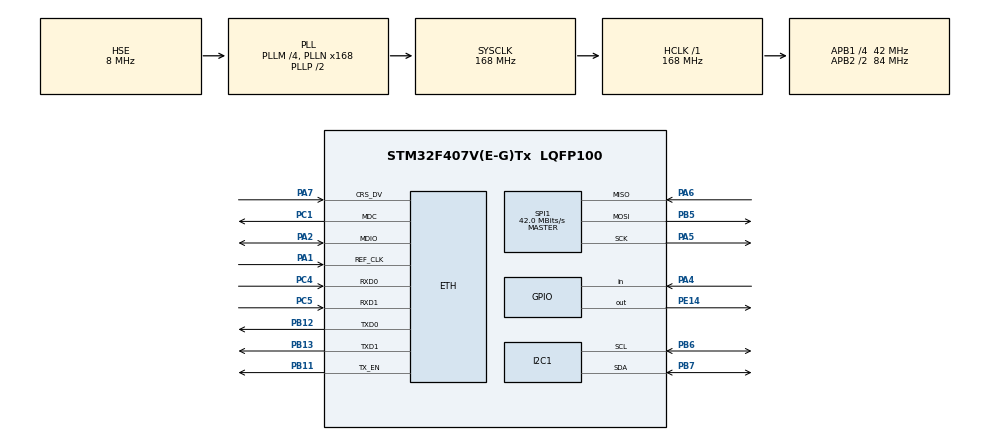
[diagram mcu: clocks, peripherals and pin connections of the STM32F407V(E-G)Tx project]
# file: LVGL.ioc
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ETH.MediaInterface=ETH_MEDIA_INTERFACE_RMII
ETH.PhyAddress=0
LWIP.GATEWAY_ADDRESS=192.168.123.001
LWIP.IP_ADDRESS=192.168.123.011
LWIP.LWIP_DHCP=0
LWIP.LWIP_ICMP=1
LWIP.LWIP_UDP=0
LWIP.NETMASK_ADDRESS=255.255.255.000
LWIP.Version=v2.1.2_Cube
Mcu.Family=STM32F4
Mcu.Name=STM32F407V(E-G)Tx
Mcu.Package=LQFP100
NVIC.PriorityGroup=NVIC_PRIORITYGROUP_4
NVIC.TIM6_DAC_IRQn=true\:0\:0\:false\:false\:true\:true\:true
PA1.Mode=RMII
PA1.Signal=ETH_REF_CLK
PA13.Mode=Serial_Wire
PA13.Signal=SYS_JTMS-SWDIO
PA14.Mode=Serial_Wire
PA14.Signal=SYS_JTCK-SWCLK
PA2.Mode=RMII
PA2.Signal=ETH_MDIO
PA4.Signal=GPIO_Input
PA5.Mode=Full_Duplex_Master
PA5.Signal=SPI1_SCK
PA6.Mode=Full_Duplex_Master
PA6.Signal=SPI1_MISO
PA7.Mode=RMII
PA7.Signal=ETH_CRS_DV
PB11.Mode=RMII
PB11.Signal=ETH_TX_EN
PB12.Mode=RMII
PB12.Signal=ETH_TXD0
PB13.Mode=RMII
PB13.Signal=ETH_TXD1
PB5.Mode=Full_Duplex_Master
PB5.Signal=SPI1_MOSI
PB6.Mode=I2C
PB6.Signal=I2C1_SCL
PB7.Mode=I2C
PB7.Signal=I2C1_SDA
PC1.Mode=RMII
PC1.Signal=ETH_MDC
PC4.Mode=RMII
PC4.Signal=ETH_RXD0
PC5.Mode=RMII
PC5.Signal=ETH_RXD1
PE14.Signal=GPIO_Output
PH0-OSC_IN.Mode=HSE-External-Oscillator
PH0-OSC_IN.Signal=RCC_OSC_IN
PH1-OSC_OUT.Mode=HSE-External-Oscillator
PH1-OSC_OUT.Signal=RCC_OSC_OUT
ProjectManager.HeapSize=0x200
ProjectManager.StackSize=0x4000
ProjectManager.TargetToolchain=MDK-ARM V5.32
RCC.48MHZClocksFreq_Value=84000000
RCC.AHBFreq_Value=168000000
RCC.APB1CLKDivider=RCC_HCLK_DIV4
RCC.APB1Freq_Value=42000000
RCC.APB1TimFreq_Value=84000000
RCC.APB2CLKDivider=RCC_HCLK_DIV2
RCC.APB2Freq_Value=84000000
RCC.APB2TimFreq_Value=168000000
RCC.CortexFreq_Value=168000000
RCC.HCLKFreq_Value=168000000
RCC.HSE_VALUE=8000000
RCC.HSI_VALUE=16000000
RCC.LSE_VALUE=32768
RCC.PLLM=4
RCC.PLLN=168
RCC.PLLSourceVirtual=RCC_PLLSOURCE_HSE
RCC.SYSCLKFreq_VALUE=168000000
RCC.SYSCLKSource=RCC_SYSCLKSOURCE_PLLCLK
RCC.VCOOutputFreq_Value=336000000
SPI1.CalculateBaudRate=42.0 MBits/s
SPI1.Direction=SPI_DIRECTION_2LINES
SPI1.Mode=SPI_MODE_MASTER
SPI1.VirtualType=VM_MASTER
TIM6.Period=999
TIM6.Prescaler=167
VP_FATFS_VS_Generic.Mode=User_defined
VP_LWIP_VS_Enabled.Mode=Enabled
VP_TIM6_VS_ClockSourceINT.Mode=Enable_Timer
board=custom

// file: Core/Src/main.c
/* USER CODE BEGIN Header */
/**
  ******************************************************************************
  * @file           : main.c
  * @brief          : Main program body
  ******************************************************************************
  * @attention
  *
  * Copyright (c) 2022 STMicroelectronics.
  * All rights reserved.
  *
  * This software is licensed under terms that can be found in the LICENSE file
  * in the root directory of this software component.
  * If no LICENSE file comes with this software, it is provided AS-IS.
  *
  ******************************************************************************
  */
/* USER CODE END Header */
#include "main.h"
#include "fatfs.h"
#include "i2c.h"
#include "lwip.h"
#include "spi.h"
#include "tim.h"
#include "gpio.h"

/* USER CODE BEGIN Includes */
#include "ssd1306.h"
//#include "lv_demo_benchmark.h"
#include "lv_port_indev.h"
#include "lv_port_disp.h"
#include "lvgl.h"
#include "ssd1306_tests.h"
#include "sys.h"
#include "stdio.h"
#include "ssd1306_fonts.h"
/* USER CODE END Includes */

/* USER CODE BEGIN PD */
//void HAL_TIM_PeriodElapsedCallback(TIM_HandleTypeDef *htim)
//{
//    static uint32_t time = 0;
//	if(htim->Instance == TIM6)  // ???6???
//	{
//         lv_tick_inc(1);
//	}
//}
static void anim_x_cb(void * var, int32_t v)
{
    lv_obj_set_x(var, v);
}

//static void sw_event_cb(lv_event_t * e)
//{
//    lv_obj_t * sw = lv_event_get_target(e);
//    lv_obj_t * label = lv_event_get_user_data(e);

//    if(lv_obj_has_state(sw, LV_STATE_CHECKED)) {
//        lv_anim_t a;
//        lv_anim_init(&a);
//        lv_anim_set_var(&a, label);
//        lv_anim_set_values(&a, lv_obj_get_x(label), 20);
//        lv_anim_set_time(&a, 500);
//        lv_anim_set_exec_cb(&a, anim_x_cb);
//        lv_anim_set_path_cb(&a, lv_anim_path_overshoot);
//        lv_anim_start(&a);
//    } else {
//        lv_anim_t a;
//        lv_anim_init(&a);
//        lv_anim_set_var(&a, label);
//        lv_anim_set_values(&a, lv_obj_get_x(label), 0);
//        lv_anim_set_time(&a, 500);
//        lv_anim_set_exec_cb(&a, anim_x_cb);
//        lv_anim_set_path_cb(&a, lv_anim_path_ease_in);
//        lv_anim_start(&a);
//    }

//}
static void event_cb2(lv_event_t * e)
{
    static unsigned int cnt = 1;
    lv_obj_t * btn = lv_event_get_target(e);
    lv_obj_t * label = lv_event_get_user_data(e);

//
//    lv_label_set_text_fmt(label, "%u", cnt);
    cnt++;
		if(cnt==4)
		{
			cnt=1;
		}
		switch(cnt){
			case 1:
				lv_label_set_text_fmt(label, "VIDEO");
							break;
			case 2:
				lv_label_set_text_fmt(label, "AUDIO");
							break;
			case 3:
				lv_label_set_text_fmt(label, "Github");
				break;
		}
		lv_anim_t a;
		lv_anim_init(&a);
		lv_anim_set_var(&a, label);
		lv_anim_set_values(&a, lv_obj_get_x(label), 0);
		lv_anim_set_time(&a, 500);
		lv_anim_set_exec_cb(&a, anim_x_cb);
		lv_anim_set_path_cb(&a, lv_anim_path_overshoot);
		lv_anim_start(&a);

}
static void event_cb(lv_event_t * e)
{
    static unsigned int cnt = 1;
    lv_obj_t * btn = lv_event_get_target(e);
//    lv_obj_t * label = lv_event_get_user_data(e);

    lv_obj_t * img = lv_event_get_user_data(e);
		LV_IMG_DECLARE(github_logo);
//
//    lv_label_set_text_fmt(label, "%u", cnt);
    cnt++;
		if(cnt==4)
		{
			cnt=1;
		}
		switch(cnt){
			case 1:
			lv_img_set_src(img, &LV_SYMBOL_VIDEO);lv_obj_center(img);
							break;
			case 2:
			lv_img_set_src(img, &LV_SYMBOL_AUDIO);lv_obj_center(img);
							break;
			case 3:
				lv_img_set_src(img, &github_logo);
							lv_obj_center(img);break;
		}

		lv_anim_t a2;
		lv_anim_init(&a2);
		lv_anim_set_var(&a2, img);
		lv_anim_set_values(&a2, lv_obj_get_x(img), 0);
		lv_anim_set_time(&a2, 500);
		lv_anim_set_exec_cb(&a2, anim_x_cb);
		lv_anim_set_path_cb(&a2, lv_anim_path_overshoot);
		lv_anim_start(&a2);
}
/**
 * Start animation on an event
 */
void lv_example_anim_1(void)
{
		static lv_style_t style_btn;
//		lv_style_set_bg_color(&style_btn, lv_color_black());

    lv_obj_t * btn = lv_btn_create(lv_scr_act());
		lv_obj_set_pos(btn, 10, 10);
    lv_obj_set_size(btn, 10, 10);

		lv_obj_add_style(btn, &style_btn, LV_STATE_DEFAULT);

    lv_obj_t * label = lv_label_create(lv_scr_act());
   lv_label_set_text(label, "Click!");
   lv_obj_align(label, LV_ALIGN_BOTTOM_MID, 0, 0);
//		lv_obj_add_event_cb(btn, event_cb, LV_EVENT_CLICKED, (void *)label);
		lv_obj_t * img = lv_img_create(lv_scr_act());
//	LV_IMG_DECLARE(github_logo);
//								lv_img_set_src(img, &github_logo);
//							lv_obj_center(img);
		lv_obj_add_event_cb(btn, event_cb, LV_EVENT_CLICKED, (void *)img);
		lv_obj_add_event_cb(btn, event_cb2, LV_EVENT_CLICKED, (void *)label);

}

//void lv_button_click_event_test()
//{
//	static lv_style_t style_btn;
//	/* ??????????? */
//    lv_style_init(&style_btn);
//    lv_style_set_radius(&style_btn, 10);                                        //????
//    lv_style_set_bg_opa(&style_btn, LV_OPA_COVER);                              //?????
//    lv_style_set_bg_color(&style_btn, lv_color_black());  //??????
////    lv_style_set_bg_grad_color(&style_btn, lv_palette_main(LV_PALETTE_NONE));   //??????
////    lv_style_set_bg_grad_dir(&style_btn, LV_GRAD_DIR_VER);                      //??????

//    lv_style_set_border_color(&style_btn, lv_color_black());                    //??????
//    lv_style_set_border_opa(&style_btn, LV_OPA_20);                             //??????
//    lv_style_set_border_width(&style_btn, 2);                                   //???????

//    lv_style_set_text_color(&style_btn, lv_color_white());                      //???????

//   /****************************************************??1***********************************************************/
//    /*????????????*/
//    lv_obj_t* btn = lv_btn_create(lv_scr_act());
//    /* ?????????
//    * ???,?????????????
//
//    * ?? lv_obj_remove_style_all ???????????? */
//		lv_obj_t * info_label = lv_label_create(lv_scr_act());
//		lv_obj_set_pos(info_label, 0, 50);
//    lv_label_set_text(info_label, "None");
//		lv_obj_add_event_cb(btn, event_cb, LV_EVENT_ALL, info_label);
//    lv_obj_remove_style_all(btn);
//    lv_obj_set_pos(btn, 10, 10);
//    lv_obj_set_size(btn, 80, 25);
//    lv_obj_add_style(btn, &style_btn, LV_STATE_DEFAULT);            //???????
//    /*???????*/
//    lv_obj_t* label = lv_label_create(btn);
//    lv_label_set_text(label, "Button");
//    lv_obj_center(label);
//

//}

/* USER CODE END PD */

void SystemClock_Config(void);

int main(void)
{

  /* MCU Configuration--------------------------------------------------------*/

  /* Reset of all peripherals, Initializes the Flash interface and the Systick. */
  HAL_Init();

  /* Configure the system clock */
  SystemClock_Config();

  /* Initialize all configured peripherals */
  MX_GPIO_Init();
  MX_I2C1_Init();
  MX_TIM6_Init();
  MX_SPI1_Init();
  MX_FATFS_Init();
  MX_LWIP_Init();
  /* USER CODE BEGIN 2 */
//	OLED_Init(hi2c1);
//lv_init();                  // lvgl???,?????????,???????????
//lv_port_disp_init();       // ??????

// lvgl_first_demo_start();

lv_init();                  // lvgl???,?????????,???????????
//ssd1306_TestAll();
lv_port_disp_init();        // ??????
lv_port_indev_init();
//lv_button_click_event_test();
lv_example_anim_1();

  /* USER CODE END 2 */

  /* Infinite loop */
  /* USER CODE BEGIN WHILE */
  while (1)
  {

		lv_task_handler();
    /* USER CODE END WHILE */

  }
}

void SystemClock_Config(void)
{
  RCC_OscInitTypeDef RCC_OscInitStruct = {0};
  RCC_ClkInitTypeDef RCC_ClkInitStruct = {0};

  /** Configure the main internal regulator output voltage
  */
  __HAL_RCC_PWR_CLK_ENABLE();
  __HAL_PWR_VOLTAGESCALING_CONFIG(PWR_REGULATOR_VOLTAGE_SCALE1);
  /** Initializes the RCC Oscillators according to the specified parameters
  * in the RCC_OscInitTypeDef structure.
  */
  RCC_OscInitStruct.OscillatorType = RCC_OSCILLATORTYPE_HSE;
  RCC_OscInitStruct.HSEState = RCC_HSE_ON;
  RCC_OscInitStruct.PLL.PLLState = RCC_PLL_ON;
  RCC_OscInitStruct.PLL.PLLSource = RCC_PLLSOURCE_HSE;
  RCC_OscInitStruct.PLL.PLLM = 4;
  RCC_OscInitStruct.PLL.PLLN = 168;
  RCC_OscInitStruct.PLL.PLLP = RCC_PLLP_DIV2;
  RCC_OscInitStruct.PLL.PLLQ = 4;
  if (HAL_RCC_OscConfig(&RCC_OscInitStruct) != HAL_OK)
  {
    Error_Handler();
  }
  /** Initializes the CPU, AHB and APB buses clocks
  */
  RCC_ClkInitStruct.ClockType = RCC_CLOCKTYPE_HCLK|RCC_CLOCKTYPE_SYSCLK
                              |RCC_CLOCKTYPE_PCLK1|RCC_CLOCKTYPE_PCLK2;
  RCC_ClkInitStruct.SYSCLKSource = RCC_SYSCLKSOURCE_PLLCLK;
  RCC_ClkInitStruct.AHBCLKDivider = RCC_SYSCLK_DIV1;
  RCC_ClkInitStruct.APB1CLKDivider = RCC_HCLK_DIV4;
  RCC_ClkInitStruct.APB2CLKDivider = RCC_HCLK_DIV2;

  if (HAL_RCC_ClockConfig(&RCC_ClkInitStruct, FLASH_LATENCY_5) != HAL_OK)
  {
    Error_Handler();
  }
}

void Error_Handler(void)
{
  __disable_irq();
  while (1)
  {
  }
}
